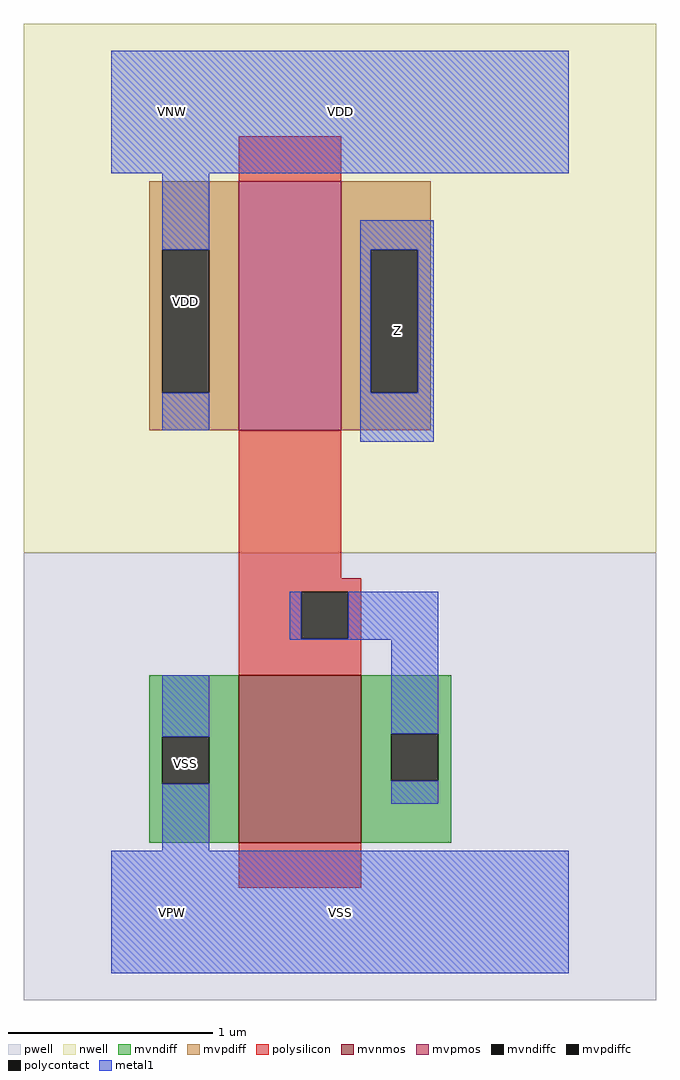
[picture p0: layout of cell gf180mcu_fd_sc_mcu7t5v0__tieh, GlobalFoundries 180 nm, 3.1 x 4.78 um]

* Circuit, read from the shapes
.subckt gf180mcu_fd_sc_mcu7t5v0__tieh Z VDD VNW VPW VSS
XM1 n1 n1 VSS VPW nfet_06v0 w=0.82u l=0.6u
XM2 Z n1 VDD VNW pfet_06v0 w=1.22u l=0.5u
.ends

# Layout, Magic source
magic
tech gf180mcuD
magscale 1 10
<< nwell >>
rect -86 352 534 870
<< pwell >>
rect -86 -86 534 352
<< mvnmos >>
rect 125 68 245 232
<< mvpmos >>
rect 125 472 225 716
<< mvndiff >>
rect 37 172 125 232
rect 37 126 50 172
rect 96 126 125 172
rect 37 68 125 126
rect 245 175 333 232
rect 245 129 274 175
rect 320 129 333 175
rect 245 68 333 129
<< mvpdiff >>
rect 37 649 125 716
rect 37 509 50 649
rect 96 509 125 649
rect 37 472 125 509
rect 225 649 313 716
rect 225 509 254 649
rect 300 509 313 649
rect 225 472 313 509
<< mvndiffc >>
rect 50 126 96 172
rect 274 129 320 175
<< mvpdiffc >>
rect 50 509 96 649
rect 254 509 300 649
<< polysilicon >>
rect 125 716 225 760
rect 125 327 225 472
rect 125 314 245 327
rect 125 268 186 314
rect 232 268 245 314
rect 125 232 245 268
rect 125 24 245 68
<< polycontact >>
rect 186 268 232 314
<< metal1 >>
rect 0 724 448 844
rect 50 649 96 724
rect 50 472 96 509
rect 244 649 316 678
rect 244 509 254 649
rect 300 509 316 649
rect 244 461 316 509
rect 175 268 186 314
rect 232 268 320 314
rect 175 267 320 268
rect 50 172 96 232
rect 50 60 96 126
rect 274 175 320 267
rect 274 106 320 129
rect 0 -60 448 60
<< labels >>
flabel metal1 s 244 461 316 678 0 FreeSans 400 0 0 0 Z
port 1 nsew default output
flabel metal1 s 0 724 448 844 0 FreeSans 400 0 0 0 VDD
port 2 nsew power bidirectional abutment
flabel metal1 s 50 60 96 232 0 FreeSans 400 0 0 0 VSS
port 5 nsew ground bidirectional abutment
flabel nwell s 10 734 110 834 0 FreeSans 400 0 0 0 VNW
port 3 nsew power bidirectional
flabel pwell s 10 -50 110 50 0 FreeSans 400 0 0 0 VPW
port 4 nsew ground bidirectional
rlabel metal1 s 50 472 96 724 1 VDD
port 2 nsew power bidirectional abutment
rlabel metal1 s 0 -60 448 60 1 VSS
port 5 nsew ground bidirectional abutment
<< properties >>
string FIXED_BBOX 0 0 448 784
string GDS_END 318162
string GDS_FILE $PDKPATH/libs.ref/gf180mcu_fd_sc_mcu7t5v0/gds/gf180mcu_fd_sc_mcu7t5v0.gds
string GDS_START 316076
string LEFclass core TIEHIGH
string LEFsite GF018hv5v_mcu_sc7
string LEFsymmetry X Y
string MASKHINTS_DUALGATE -56 764 45 840 305 764 504 840 -56 424 -11 764 361 424 504 764 -56 280 45 424 325 280 504 424 -56 20 -11 280 381 20 504 280 -56 -56 45 20 325 -56 504 20
string MASKHINTS_NPLUS -40 278 488 352 -40 264 79 278 291 264 488 278 -40 36 5 264 365 36 488 264 -40 22 79 36 291 22 488 36 -40 -40 488 22
string MASKHINTS_PPLUS -40 762 488 824 -40 748 79 762 271 748 488 762 -40 440 5 748 345 440 488 748 -40 426 79 440 271 426 488 440 -40 352 488 426
<< end >>
